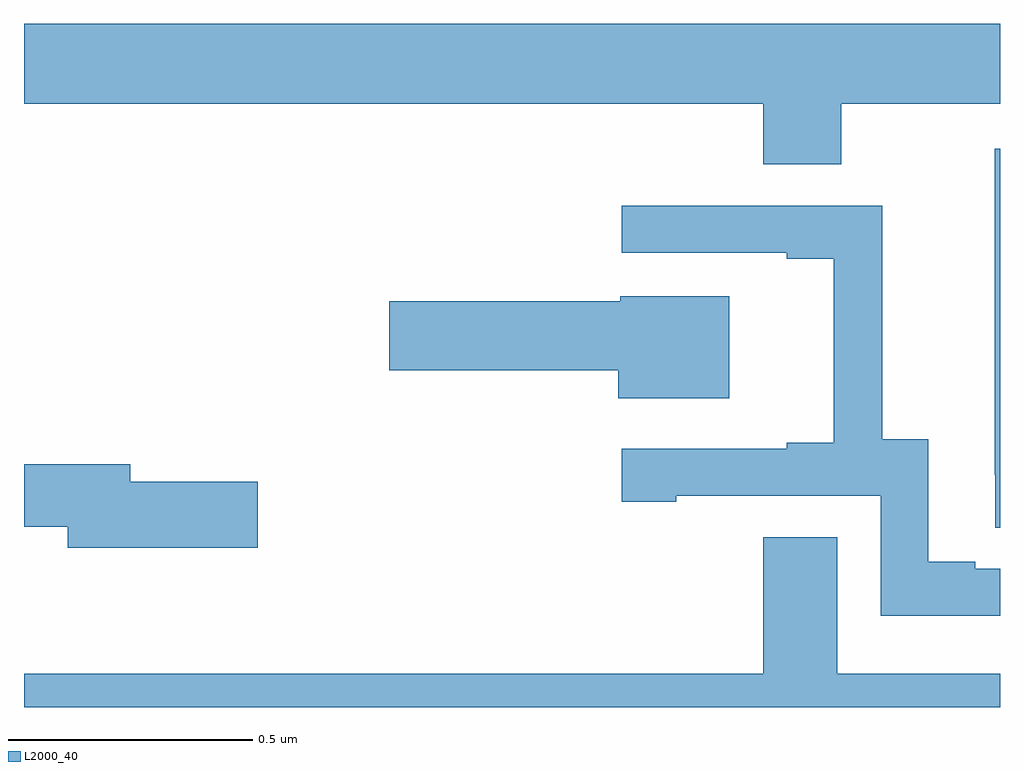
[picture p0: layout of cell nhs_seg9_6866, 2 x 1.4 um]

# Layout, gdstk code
import gdstk
lib = gdstk.Library(unit=1e-6, precision=1e-09)
def P(c, l, *ps):  # polygons
    for p in ps: c.add(gdstk.Polygon(p, *l))
L2000_40 = (2000, 40)

nhs_seg9_6866 = lib.new_cell('nhs_seg9_6866')
P(nhs_seg9_6866, L2000_40, [(198.675,1213.736),(199,1213.736),(199,1213.9),(197,1213.9),(197,1213.736),(198.515,1213.736),(198.515,1213.612),(198.675,1213.612)],
  [(199,1213.644),(198.989,1213.644),(198.989,1212.976),(198.99,1212.976),(198.99,1212.868),(199,1212.868)],
  [(199,1212.783),(198.949,1212.783),(198.949,1212.798),(198.853,1212.798),(198.853,1213.049),(198.759,1213.049),(198.759,1213.527),(198.225,1213.527),(198.225,1213.431),(198.563,1213.431),(198.563,1213.419),(198.659,1213.419),(198.659,1213.042),(198.563,1213.042),(198.563,1213.029),(198.225,1213.029),(198.225,1212.921),(198.337,1212.921),(198.337,1212.933),(198.756,1212.933),(198.756,1212.687),(199,1212.687)],
  [(198.445,1213.342),(198.222,1213.342),(198.222,1213.332),(197.748,1213.332),(197.748,1213.19),(198.218,1213.19),(198.218,1213.133),(198.445,1213.133)],
  [(197.479,1212.962),(197.218,1212.962),(197.218,1212.998),(197,1212.998),(197,1212.87),(197.09,1212.87),(197.09,1212.827),(197.479,1212.827)],
  [(199,1212.568),(198.667,1212.568),(198.667,1212.848),(198.515,1212.848),(198.515,1212.568),(197,1212.568),(197,1212.5),(199,1212.5)])

lib.write_gds('nhs_seg9_6866.gds')
